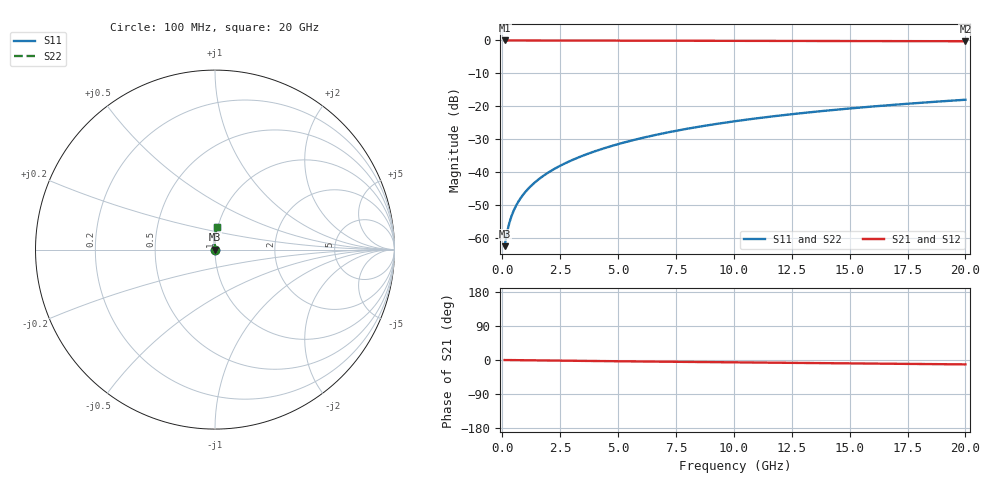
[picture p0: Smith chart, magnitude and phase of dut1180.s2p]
! Touchstone file exported from HFSS 2024.1.0
!  File:  C:/UserFiles/LocalFiles/RDL_TSV_Batchsim/temp_RDL_bottom_1180_1780057236.aedt
!  Generated:  08:22:32 PM May 29, 2026
!  Design:  RDL_bottom
!  Project:  temp_RDL_bottom_1180_1780057236
!  Setup:  Setup1
!  Solution:  Sweep
! Variables:
!  dtsv = 10.80580581um
!  hbump = 3um
!  htsv = 52um
!  ldown = 138.9um
!  lrdl = 100um
!  p = 40
!  p1 = 56.26um
!  rhole = 1um
!  t = 450um
!  tdown = 4.92um
!  trdl = 3.915915916um
!  wdown = 28.4um
!  wrdl = 20um
# GHz S MA R 50.000000
! Terminal data exported
! Port[1] = RDL1_T1
! Port[2] = RDL1_T2
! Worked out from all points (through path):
!   200 points, 100 MHz to 20 GHz, reference 50 ohm
!   highest |S21| = 0.00 dB at 100 MHz (marker M1); lowest = -0.2 dB at 20 GHz (marker M2)
!   group delay of S21, straight-line fit = 1.58 ps
!   lowest |S11| = -62.4 dB at 100 MHz (marker M3), VSWR 1.00, Z = 50.1 + j0.0541 ohm
!   |S11| at or under -10 dB: start of sweep to end of sweep
!   |S22| runs from -62.4 to -18.0 dB; largest |S21 - S12| = 2.3e-15
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0.1  0.0007564 45.6  0.9995 -0.1  0.9995 -0.1  0.0007564 45.6
! Gamma 0 0 0 0
! Port Impedance 50 0 50 0
0.2  0.001202 63.2  0.9994 -0.1  0.9994 -0.1  0.001202 63.2
0.3  0.001686 70.7  0.9994 -0.2  0.9994 -0.2  0.001686 70.7
0.4  0.002174 74.8  0.9993 -0.3  0.9993 -0.3  0.002174 74.8
0.5  0.002657 77.4  0.9993 -0.4  0.9993 -0.4  0.002657 77.4
0.7  0.003614 80.9  0.9992 -0.5  0.9992 -0.5  0.003613 80.8
0.8  0.00409 82.1  0.9991 -0.6  0.9991 -0.6  0.00409 82.1
1  0.005046 84.0  0.999 -0.7  0.999 -0.7  0.005046 84.0
1.4  0.006984 86.7  0.9987 -1.0  0.9987 -1.0  0.006983 86.7
1.7  0.008466 88.2  0.9984 -1.2  0.9984 -1.2  0.008465 88.2
2  0.009976 89.3  0.9981 -1.4  0.9981 -1.4  0.009975 89.3
2.7  0.01361 91.3  0.9972 -1.9  0.9972 -1.9  0.01361 91.3
3.5  0.01798 92.7  0.996 -2.4  0.996 -2.4  0.01798 92.7
4.2  0.02197 93.5  0.9948 -2.8  0.9948 -2.8  0.02197 93.5
5  0.02672 94.0  0.9934 -3.3  0.9934 -3.3  0.02672 94.0
5.9  0.03228 94.2  0.9918 -3.9  0.9918 -3.9  0.03227 94.2
6.8  0.038 94.1  0.9903 -4.4  0.9903 -4.4  0.038 94.1
8.4  0.04847 93.3  0.9877 -5.3  0.9877 -5.3  0.04847 93.3
10.1  0.05984 92.2  0.9852 -6.2  0.9852 -6.2  0.05983 92.2
13.4  0.08209 89.6  0.9807 -8.0  0.9807 -8.0  0.08208 89.6
16.7  0.1042 87.0  0.9767 -9.8  0.9767 -9.8  0.1042 87.0
20  0.126 84.4  0.9727 -11.6  0.9727 -11.6  0.126 84.4
